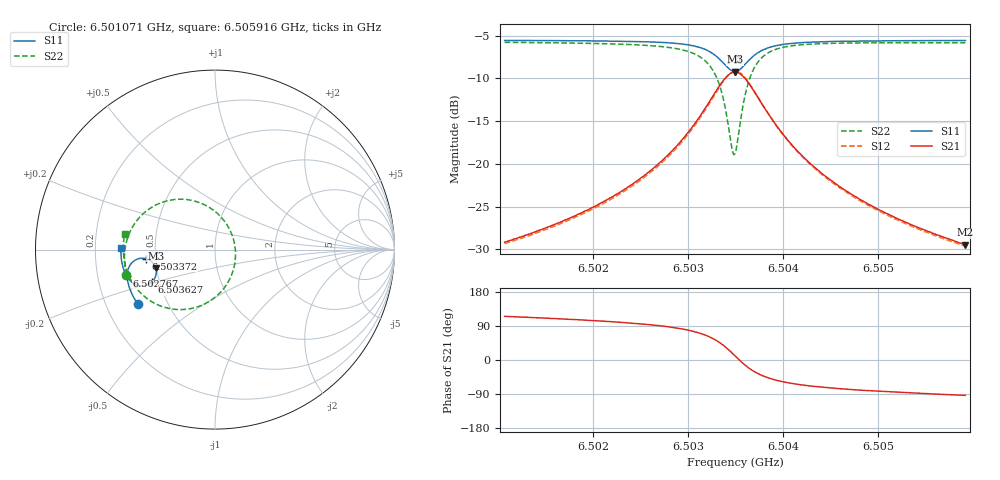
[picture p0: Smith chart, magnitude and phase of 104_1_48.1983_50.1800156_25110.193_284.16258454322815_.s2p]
#  HZ  S  RI  R  50.00
! Rohde & Schwarz Vector Network Analyzer
! Rohde-Schwarz,ZNB20-2Port,1311601062101988,3.16
! Created: UTC 3/20/2024, 11:40:42 AM
! freq[Hz]  re:S11  im:S11  re:S21  im:S21  re:S12  im:S12  re:S22  im:S22
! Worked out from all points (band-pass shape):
!   401 points, 6.501071 GHz to 6.505916 GHz, reference 50 ohm
!   highest |S21| = -9.26 dB at 6.503493 GHz (marker M1); lowest = -29.5 dB at 6.505916 GHz (marker M2)
!   |S21| within 3 dB of the highest: 6.50325 GHz to 6.503735 GHz (484.4 kHz wide, 0.00745 % of centre)
!   lowest |S11| = -9.2 dB at 6.503493 GHz (marker M3), VSWR 2.06, Z = 24.7 - j5.78 ohm
!   |S11| at or under -10 dB: nowhere
!   |S22| runs from -18.9 to -5.8 dB; largest |S21 - S12| = 0.012
!   S11 on the Smith chart (normalised r, x): 6.501071 GHz: 0.34, -0.28; 6.502767 GHz: 0.33, -0.13; 6.503372 GHz: 0.44, -0.05; 6.503627 GHz: 0.45, -0.19; 6.505916 GHz: 0.31, +0.01
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6.5010708e9  -0.4317 -0.3014  -0.0148 0.0315  -0.0131 0.0315  -0.4933 -0.1423
6.5018823e9  -0.4658 -0.2403  -0.014 0.0497  -0.0115 0.0494  -0.5044 -0.0535
6.5022941e9  -0.4799 -0.2031  -0.0112 0.0678  -0.00814 0.0668  -0.5008 0.00629
6.5026938e9  -0.489 -0.1582  -0.0011 0.1005  0.00257 0.0981  -0.4782 0.0884
6.5027665e9  -0.4895 -0.1483  0.00305 0.1096  0.00678 0.1067  -0.4694 0.1082
6.5029724e9  -0.4856 -0.1148  0.0247 0.1437  0.0285 0.1395  -0.4236 0.1759
6.5031299e9  -0.4705 -0.0824  0.065 0.1802  0.0677 0.1743  -0.3453 0.24
6.5032752e9  -0.4319 -0.0528  0.1484 0.2092  0.149 0.2029  -0.1933 0.2807
6.5033237e9  -0.4103 -0.0481  0.1916 0.2074  0.1916 0.2018  -0.1173 0.2715
6.5033721e9  -0.3846 -0.0504  0.2413 0.1917  0.2413 0.187  -0.0322 0.2355
6.5034569e9  -0.3413 -0.0804  0.3204 0.1153  0.3229 0.111  0.094 0.0848
6.5034933e9  -0.3304 -0.1028  0.338 0.0656  0.3415 0.0599  0.1143 -0.00876
6.5035175e9  -0.3274 -0.1194  0.3412 0.0304  0.3452 0.0235  0.1112 -0.0733
6.5035538e9  -0.3298 -0.1438  0.3334 -0.0205  0.3368 -0.0296  0.0825 -0.1636
6.5036265e9  -0.3525 -0.1814  0.2855 -0.0974  0.2852 -0.1093  -0.0304 -0.2877
6.5037234e9  -0.394 -0.2012  0.206 -0.141  0.201 -0.1513  -0.1925 -0.3344
6.5038809e9  -0.4437 -0.1935  0.1168 -0.1401  0.1094 -0.1456  -0.3546 -0.2889
6.5040626e9  -0.4745 -0.1708  0.066 -0.1175  0.0595 -0.1196  -0.4369 -0.2163
6.5043048e9  -0.4957 -0.141  0.0351 -0.0917  0.03 -0.0923  -0.4814 -0.142
6.5046561e9  -0.511 -0.1034  0.0159 -0.068  0.0123 -0.0677  -0.504 -0.0681
6.5051163e9  -0.5208 -0.0602  0.00529 -0.0501  0.00294 -0.0493  -0.5109 2.19e-05
6.5059158e9  -0.5259 0.00814  -0.00193 -0.0336  -0.00333 -0.0328  -0.5034 0.0869
